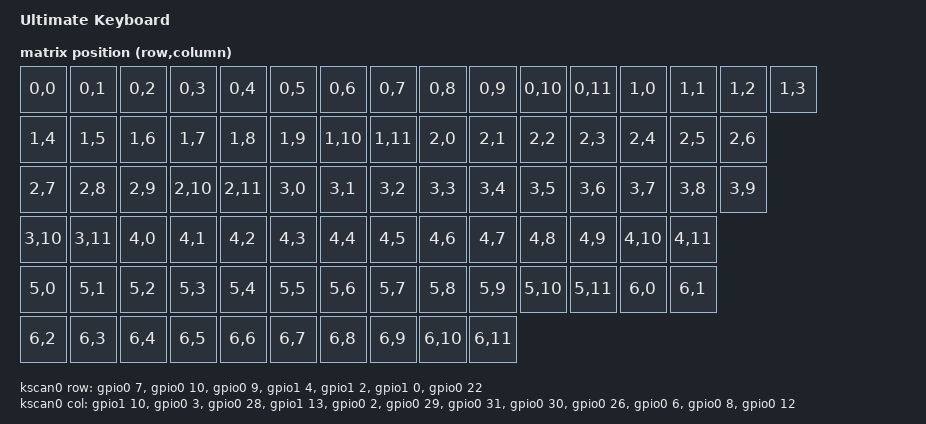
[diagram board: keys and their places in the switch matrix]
/*
 * Copyright (c) 2026 Hashim
 * SPDX-License-Identifier: MIT
 */

/dts-v1/;
#include <nordic/nrf52840_qiaa.dtsi>
#include <common/nordic/nrf52840_uf2_boot_mode.dtsi>

#include <dt-bindings/led/led.h>
#include <dt-bindings/zmk/matrix_transform.h>

/ {
    model = "Ultimate Keyboard";
    compatible = "hashim,ultimate-keyboard";

    chosen {
        zephyr,code-partition = &code_partition;
        zephyr,sram = &sram0;
        zephyr,flash = &flash0;
        zmk,kscan = &kscan0;
        zmk,matrix-transform = &default_transform;
        zmk,battery = &vbatt;
        zmk,underglow = &led_strip;
    };

    default_transform: keymap_transform_0 {
        compatible = "zmk,matrix-transform";
        columns = <12>;
        rows = <7>;
        map = <
            /* Row 0 - Function Row (16 keys: Esc, F1..F12, PrtSc, Pause, Del) */
            RC(0,  0) RC(0,  1) RC(0,  2) RC(0,  3) RC(0,  4) RC(0,  5) RC(0,  6) RC(0,  7) RC(0,  8) RC(0,  9) RC(0, 10) RC(0, 11) RC(1,  0) RC(1,  1) RC(1,  2) RC(1,  3)
            /* Row 1 - Number Row (15 keys: ~`, 1..0, -, =, Backspace, Home) */
            RC(1,  4) RC(1,  5) RC(1,  6) RC(1,  7) RC(1,  8) RC(1,  9) RC(1, 10) RC(1, 11) RC(2,  0) RC(2,  1) RC(2,  2) RC(2,  3) RC(2,  4) RC(2,  5) RC(2,  6)
            /* Row 2 - QWERTY Row (15 keys: Tab, Q..P, [, ], \, PgUp) */
            RC(2,  7) RC(2,  8) RC(2,  9) RC(2, 10) RC(2, 11) RC(3,  0) RC(3,  1) RC(3,  2) RC(3,  3) RC(3,  4) RC(3,  5) RC(3,  6) RC(3,  7) RC(3,  8) RC(3,  9)
            /* Row 3 - Home Row (14 keys: Caps, A..', Enter, PgDn) */
            RC(3, 10) RC(3, 11) RC(4,  0) RC(4,  1) RC(4,  2) RC(4,  3) RC(4,  4) RC(4,  5) RC(4,  6) RC(4,  7) RC(4,  8) RC(4,  9) RC(4, 10) RC(4, 11)
            /* Row 4 - Bottom Row (14 keys: LShift, Z../, RShift, Up, End) */
            RC(5,  0) RC(5,  1) RC(5,  2) RC(5,  3) RC(5,  4) RC(5,  5) RC(5,  6) RC(5,  7) RC(5,  8) RC(5,  9) RC(5, 10) RC(5, 11) RC(6,  0) RC(6,  1)
            /* Row 5 - Modifiers & Arrows (10 keys: LCtrl, LGUI, LAlt, Space, RAlt, Fn, RCtrl, Left, Down, Right) */
            RC(6,  2) RC(6,  3) RC(6,  4) RC(6,  5) RC(6,  6) RC(6,  7) RC(6,  8) RC(6,  9) RC(6, 10) RC(6, 11)
        >;
    };

    kscan0: kscan_0 {
        compatible = "zmk,kscan-gpio-matrix";
        diode-direction = "col2row";

        col-gpios
            = <&gpio1 10 GPIO_ACTIVE_HIGH>  /* Col 1  (Pad 2)  */
            , <&gpio0  3 GPIO_ACTIVE_HIGH>  /* Col 2  (Pad 3)  */
            , <&gpio0 28 GPIO_ACTIVE_HIGH>  /* Col 3  (Pad 4)  */
            , <&gpio1 13 GPIO_ACTIVE_HIGH>  /* Col 4  (Pad 6)  */
            , <&gpio0  2 GPIO_ACTIVE_HIGH>  /* Col 5  (Pad 7)  */
            , <&gpio0 29 GPIO_ACTIVE_HIGH>  /* Col 6  (Pad 8)  */
            , <&gpio0 31 GPIO_ACTIVE_HIGH>  /* Col 7  (Pad 9)  */
            , <&gpio0 30 GPIO_ACTIVE_HIGH>  /* Col 8  (Pad 10) */
            , <&gpio0 26 GPIO_ACTIVE_HIGH>  /* Col 9  (Pad 12) */
            , <&gpio0  6 GPIO_ACTIVE_HIGH>  /* Col 10 (Pad 14) */
            , <&gpio0  8 GPIO_ACTIVE_HIGH>  /* Col 11 (Pad 16) */
            , <&gpio0 12 GPIO_ACTIVE_HIGH>  /* Col 12 (Pad 20) */
            ;

        row-gpios
            = <&gpio0  7 (GPIO_ACTIVE_HIGH | GPIO_PULL_DOWN)> /* Row 1 (Pad 22) */
            , <&gpio0 10 (GPIO_ACTIVE_HIGH | GPIO_PULL_DOWN)> /* Row 2 (Pad 43) NFC2 */
            , <&gpio0  9 (GPIO_ACTIVE_HIGH | GPIO_PULL_DOWN)> /* Row 3 (Pad 41) NFC1 */
            , <&gpio1  4 (GPIO_ACTIVE_HIGH | GPIO_PULL_DOWN)> /* Row 4 (Pad 40) */
            , <&gpio1  2 (GPIO_ACTIVE_HIGH | GPIO_PULL_DOWN)> /* Row 5 (Pad 38) */
            , <&gpio1  0 (GPIO_ACTIVE_HIGH | GPIO_PULL_DOWN)> /* Row 6 (Pad 36) */
            , <&gpio0 22 (GPIO_ACTIVE_HIGH | GPIO_PULL_DOWN)> /* Row 7 (Pad 34) */
            ;
    };

    vbatt: vbatt {
        compatible = "zmk,battery-voltage-divider";
        io-channels = <&adc 2>; /* P0.04/AIN2 (Pad 18) */
        output-ohms = <2000000>;
        full-ohms = <(2000000 + 820000)>;
    };

    ext-power {
        compatible = "zmk,ext-power-generic";
        control-gpios = <&gpio1 9 GPIO_ACTIVE_HIGH>; /* P1.09 (Pad 17) controls Q2 gate */
        init-delay-ms = <50>;
    };
};

&adc {
    status = "okay";
};

&gpiote {
    status = "okay";
};

&gpio0 {
    status = "okay";
};

&gpio1 {
    status = "okay";
};

&usbd {
    status = "okay";
};

&pinctrl {
    spi3_default: spi3_default {
        group1 {
            psels = <NRF_PSEL(SPIM_MOSI, 1, 11)>; /* P1.11 (Pad 1) RGB LEDs */
        };
    };
    spi3_sleep: spi3_sleep {
        group1 {
            psels = <NRF_PSEL(SPIM_MOSI, 1, 11)>;
            low-power-enable;
        };
    };
};

&spi3 {
    compatible = "nordic,nrf-spim";
    status = "okay";
    pinctrl-0 = <&spi3_default>;
    pinctrl-1 = <&spi3_sleep>;
    pinctrl-names = "default", "sleep";

    led_strip: ws2812@0 {
        compatible = "worldsemi,ws2812-spi";
        reg = <0>;
        spi-max-frequency = <4000000>;
        chain-length = <84>;
        spi-one-frame = <0x70>;
        spi-zero-frame = <0x40>;
        color-mapping = <LED_COLOR_ID_GREEN LED_COLOR_ID_RED LED_COLOR_ID_BLUE>;
    };
};

&flash0 {
    partitions {
        compatible = "fixed-partitions";
        #address-cells = <1>;
        #size-cells = <1>;

        sd_partition: partition@0 {
            reg = <0x00000000 0x00001000>;
        };

        code_partition: partition@1000 {
            reg = <0x00001000 0x000d3000>;
        };

        storage_partition: partition@d4000 {
            reg = <0x000d4000 0x00020000>;
        };

        boot_partition: partition@f4000 {
            reg = <0x000f4000 0x0000c000>;
        };
    };
};
